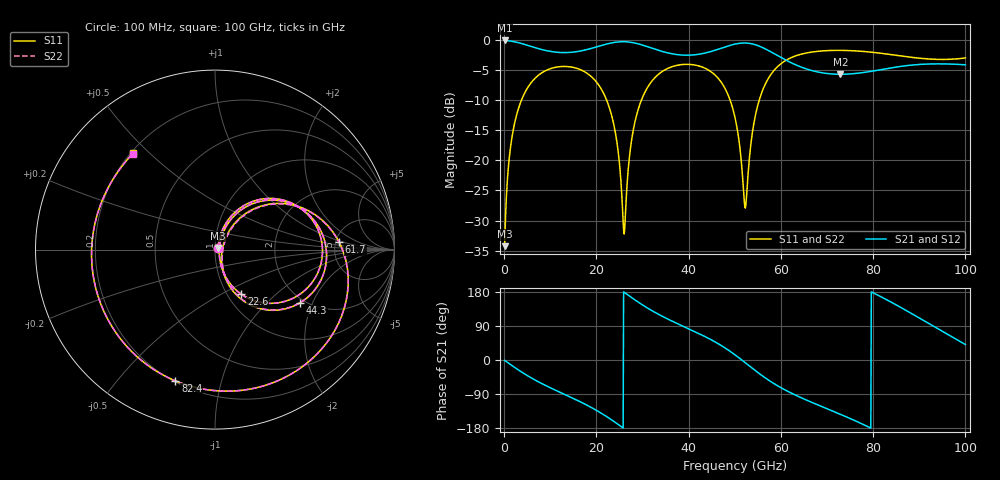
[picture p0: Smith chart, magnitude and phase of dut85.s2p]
! Touchstone file exported from HFSS 2026.1.0
!  File:  C:/ffzhzh/LocalFiles/Ansys_Project_Files/temp_train_TSV_RDL_85_1783451923_50928.aedt
!  Generated:  03:26:34 AM Jul  8, 2026
!  Design:  TSV_RDL
!  Project:  temp_train_TSV_RDL_85_1783451923_50928
! Variables:
!  h_bsmrdl = 2.54um
!  h_ox = 20um
!  h_rdl = 5um
!  h_sub = 56.14um
!  h_tmrdl = 3.02um
!  h_tsv = 56.14um
!  h_via = 3um
!  l_bsmrdl = 411.04um
!  l_sub = 2419.35um
!  l_tmrdl = 165.38um
!  m_sub = 200um
!  pitch = 53.98um
!  r_tsv = 10.83um
!  s_tmrdl = 10um
!  w_bsmrdl = 13.34um
!  w_sub = 500um
!  w_tmrdl = 28.23um
!  x_tsv_center1 = 179.495um
!  x_tsv_center2 = 603.875um
!  x_tsv_center3 = 797.485um
!  x_tsv_center4 = 1221.865um
!  x_tsv_center5 = 1415.475um
!  x_tsv_center6 = 1839.855um
# GHz S MA R 50.000000
! Terminal data exported
! Port[1] = TM_RDL1_1_T1
! Port[2] = TM_RDL5_1_T1
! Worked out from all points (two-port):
!   1000 points, 100 MHz to 100 GHz, reference 50 ohm
!   highest |S21| = -0.15 dB at 100 MHz (marker M1); lowest = -5.7 dB at 72.9 GHz (marker M2)
!   |S21| within 3 dB of the highest: start of sweep to 60.46 GHz
!   lowest |S11| = -34.2 dB at 100 MHz (marker M3), VSWR 1.04, Z = 51.7 + j0.995 ohm
!   |S11| at or under -10 dB: start of sweep to 3.768 GHz; 22.2 GHz to 29.77 GHz (7.568 GHz wide, 29.1 % of centre); 48.97 GHz to 55.32 GHz (6.348 GHz wide, 12.2 % of centre)
!   |S22| runs from -34.2 to -1.8 dB; largest |S21 - S12| = 1.9e-14
!   S11 on the Smith chart (normalised r, x): 100 MHz: 1.03, +0.02; 22.6 GHz: 1.16, -0.63; 44.3 GHz: 1.88, -1.63; 61.7 GHz: 5.38, +0.85; 82.4 GHz: 0.21, -0.72; 100 GHz: 0.21, +0.45
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0.1  0.01945 29.6  0.9832 -0.9  0.9832 -0.9  0.01945 29.6
! Gamma 0 0 0 0
! Port Impedance 50 0 50 0
1.6  0.1471 68.1  0.9689 -14.0  0.9689 -14.0  0.1471 68.1
4.3  0.3516 50.8  0.9147 -35.8  0.9147 -35.8  0.3516 50.8
10.7  0.5842 11.1  0.7908 -77.3  0.7908 -77.3  0.5842 11.0
16.8  0.5574 -22.5  0.8079 -112.1  0.8079 -112.1  0.5574 -22.5
22.6  0.2882 -59.5  0.9259 -152.4  0.9259 -152.4  0.2882 -59.6
24.4  0.1454 -69.2  0.9534 -167.3  0.9534 -167.3  0.1453 -69.6
26  0.02453 -4.4  0.9601 178.9  0.9601 178.9  0.02349 -4.6
28.6  0.2276 59.5  0.931 156.6  0.931 156.6  0.2274 59.8
33.4  0.5133 28.3  0.816 121.0  0.816 121.0  0.5132 28.5
38.8  0.6218 -2.0  0.7434 89.0  0.7434 89.0  0.6217 -1.8
44.3  0.5591 -32.1  0.7861 57.2  0.7861 57.2  0.559 -31.9
50.1  0.2213 -68.3  0.9182 13.3  0.9182 13.3  0.2218 -67.5
52.3  0.04024 -4.3  0.9363 -7.3  0.9363 -7.3  0.04379 -4.5
55.5  0.333 44.9  0.8761 -37.5  0.8761 -37.5  0.3336 44.3
61.7  0.6931 3.4  0.6576 -84.0  0.6576 -84.0  0.6933 3.1
66.7  0.7882 -23.2  0.5539 -111.8  0.5539 -111.8  0.7883 -23.3
72.9  0.8139 -53.6  0.5159 -143.3  0.5159 -143.3  0.8139 -53.7
82.4  0.764 -106.8  0.5697 162.5  0.5697 162.5  0.764 -106.8
83.4  0.7553 -113.2  0.5785 156.0  0.5785 156.0  0.7553 -113.1
91.6  0.6924 -170.5  0.6266 99.6  0.6266 99.6  0.6923 -170.3
100  0.7046 130.3  0.6178 40.8  0.6178 40.8  0.7044 130.7
